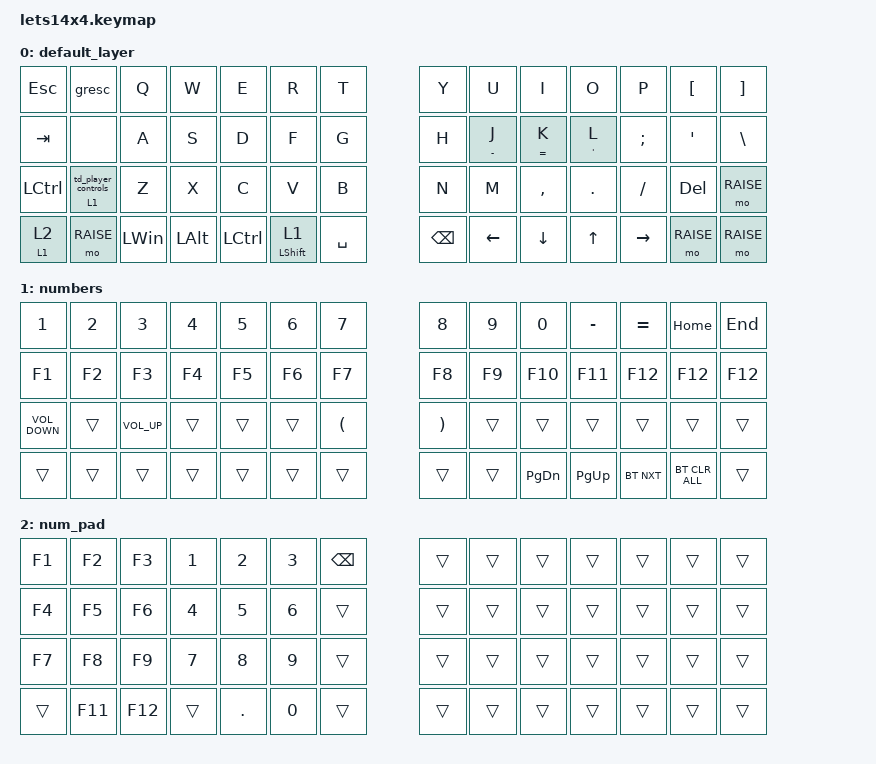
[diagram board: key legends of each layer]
#include <behaviors.dtsi>
#include <dt-bindings/zmk/bt.h>
#include <dt-bindings/zmk/keys.h>

#define DEFAULT 0
#define RAISE   1

&sl { /delete-property/ quick-release; };

/ {
    behaviors {
        mo_tog: mo_tog {
            compatible = "zmk,behavior-hold-tap";
            label = "MO_TOG";
            bindings = <&mo>, <&tog>;

            #binding-cells = <2>;
            tapping-term-ms = <100>;
        };

        tap_prefrerred_holdtap: tap_prefrerred_holdtap {
            compatible = "zmk,behavior-hold-tap";
            label = "TAP_PREFRERRED_HOLDTAP";
            bindings = <&kp>, <&kp>;

            #binding-cells = <2>;
            tapping-term-ms = <200>;
            flavor = "tap-preferred";
        };

        holdtap_stickylayer: holdtap_stickylayer {
            compatible = "zmk,behavior-hold-tap";
            label = "HOLDTAP_STICKYLAYER";
            bindings = <&kp>, <&sl>;

            #binding-cells = <2>;
            tapping-term-ms = <200>;
        };

        td_player_controls: td_player_controls {
            compatible = "zmk,behavior-tap-dance";
            label = "TD_PLAYER_CONTROLS";
            #binding-cells = <0>;
            bindings = <&kp C_PP>, <&kp C_NEXT>, <&kp C_PREVIOUS>;

            tapping-term-ms = <300>;
        };

        holdtap_playr_ctl_or_vlm_ctl: holdtap_playr_ctl_or_vlm_ctl {
            compatible = "zmk,behavior-hold-tap";
            label = "HOLDTAP_PLAYR_CTL_OR_VLM_CTL";
            bindings = <&mo>, <&td_player_controls>;

            #binding-cells = <2>;
            tapping-term-ms = <300>;
        };

        bksp_enter_modmorph: bksp_enter_modmorph {
            compatible = "zmk,behavior-mod-morph";
            label = "BKSP_ENTER_MODMORPH";
            bindings = <&kp BACKSPACE>, <&kp ENTER>;

            #binding-cells = <0>;
            mods = <(MOD_LCTL)>;
        };
    };

    combos {
        compatible = "zmk,combos";

        numpad {
            bindings = <&mo 2>;
            key-positions = <50 51>;
        };

        enter_combo {
            bindings = <&kp ENTER>;
            key-positions = <50 49>;
        };
    };

    keymap {
        compatible = "zmk,keymap";

        default_layer {
            bindings = <
&kp ESC      &gresc                             &kp Q     &kp W     &kp E      &kp R                          &kp T      &kp Y          &kp U                            &kp I                            &kp O                          &kp P      &kp LBKT   &kp RBKT
&kp TAB      &none                              &kp A     &kp S     &kp D      &kp F                          &kp G      &kp H          &tap_prefrerred_holdtap MINUS J  &tap_prefrerred_holdtap EQUAL K  &tap_prefrerred_holdtap SQT L  &kp SEMI   &kp SQT    &kp BSLH
&kp LCTRL    &holdtap_playr_ctl_or_vlm_ctl 1 0  &kp Z     &kp X     &kp C      &kp V                          &kp B      &kp N          &kp M                            &kp COMMA                        &kp DOT                        &kp FSLH   &kp DEL    &mo RAISE
&mo_tog 1 2  &mo RAISE                          &kp LWIN  &kp LALT  &kp LCTRL  &holdtap_stickylayer LSHIFT 1  &kp SPACE  &kp BACKSPACE  &kp LEFT                         &kp DOWN                         &kp UP                         &kp RIGHT  &mo RAISE  &mo RAISE
            >;
        };

        numbers {
            bindings = <
&kp N1             &kp N2  &kp N3           &kp N4  &kp N5  &kp N6  &kp N7                &kp N8                 &kp N9  &kp N0     &kp MINUS  &kp EQUAL   &kp HOME        &kp END
&kp F1             &kp F2  &kp F3           &kp F4  &kp F5  &kp F6  &kp F7                &kp F8                 &kp F9  &kp F10    &kp F11    &kp F12     &kp F12         &kp F12
&kp C_VOLUME_DOWN  &trans  &kp C_VOLUME_UP  &trans  &trans  &trans  &kp LEFT_PARENTHESIS  &kp RIGHT_PARENTHESIS  &trans  &trans     &trans     &trans      &trans          &trans
&trans             &trans  &trans           &trans  &trans  &trans  &trans                &trans                 &trans  &kp PG_DN  &kp PG_UP  &bt BT_NXT  &bt BT_CLR_ALL  &trans
            >;
        };

        num_pad {
            bindings = <
&kp F1  &kp F2   &kp F3   &kp N1  &kp N2   &kp N3  &kp BACKSPACE  &trans  &trans  &trans  &trans  &trans  &trans  &trans
&kp F4  &kp F5   &kp F6   &kp N4  &kp N5   &kp N6  &trans         &trans  &trans  &trans  &trans  &trans  &trans  &trans
&kp F7  &kp F8   &kp F9   &kp N7  &kp N8   &kp N9  &trans         &trans  &trans  &trans  &trans  &trans  &trans  &trans
&trans  &kp F11  &kp F12  &trans  &kp DOT  &kp N0  &trans         &trans  &trans  &trans  &trans  &trans  &trans  &trans
            >;
        };
    };
};
